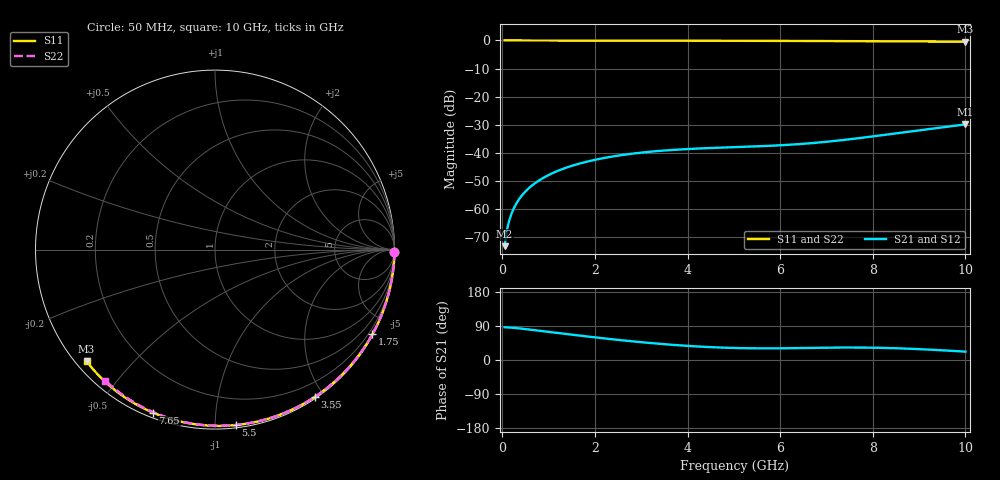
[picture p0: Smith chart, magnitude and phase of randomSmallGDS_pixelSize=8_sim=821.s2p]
! freq	dB(S11)	phase(S11)	dB(S12)	phase(S12)
!  dB(S21)	phase(S21)	dB(S22)	phase(S22)
!S-par simulation data
#  GHz  S  DB  R 50
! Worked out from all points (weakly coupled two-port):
!   200 points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, 50 MHz to 10 GHz, reference 50 ohm
!   highest |S21| = -29.95 dB at 10 GHz (marker M1); lowest = -73.4 dB at 50 MHz (marker M2)
!   lowest |S11| = -0.5 dB at 10 GHz (marker M3), VSWR 37.72, Z = 1.51 - j18.7 ohm
!   |S11| at or under -10 dB: nowhere
!   |S22| runs from -0.4 to 0.0 dB; largest |S21 - S12| = 0
!   S11 on the Smith chart (normalised r, x): 50 MHz: open; 1.75 GHz: 0.03, -3.97; 3.55 GHz: 0.02, -1.89; 5.5 GHz: 0.02, -1.12; 7.65 GHz: 0.02, -0.69; 10 GHz: 0.03, -0.37
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0.05  -0.00 -0.8  -73.36 86.5  -73.36 86.5  -0.00 -0.8
0.1  -0.00 -1.6  -67.60 86.1  -67.60 86.1  -0.00 -1.5
0.15  -0.00 -2.5  -64.17 85.9  -64.17 85.9  -0.00 -2.3
0.2  -0.00 -3.3  -61.72 85.5  -61.72 85.5  -0.00 -3.0
0.25  -0.00 -4.1  -59.81 84.9  -59.81 84.9  -0.00 -3.8
0.35  -0.00 -5.7  -56.91 83.7  -56.91 83.7  -0.00 -5.3
0.5  -0.01 -8.2  -53.85 81.6  -53.85 81.6  -0.01 -7.6
0.7  -0.01 -11.4  -50.98 78.7  -50.98 78.7  -0.01 -10.6
1  -0.02 -16.3  -47.99 74.2  -47.99 74.2  -0.02 -15.1
1.35  -0.03 -21.9  -45.55 69.0  -45.55 69.0  -0.03 -20.3
1.75  -0.04 -28.2  -43.54 63.2  -43.54 63.2  -0.03 -26.2
2.5  -0.05 -40.0  -41.06 53.1  -41.06 53.1  -0.05 -37.1
3.4  -0.07 -53.6  -39.38 42.7  -39.38 42.7  -0.07 -49.8
3.55  -0.08 -55.8  -39.18 41.2  -39.18 41.2  -0.07 -51.9
4.3  -0.09 -66.7  -38.48 35.1  -38.48 35.1  -0.09 -62.1
5.05  -0.12 -77.2  -38.02 31.6  -38.02 31.6  -0.11 -72.0
5.5  -0.13 -83.3  -37.76 30.8  -37.76 30.8  -0.13 -77.7
6.7  -0.19 -99.0  -36.59 32.0  -36.59 32.0  -0.18 -92.5
7.65  -0.25 -110.9  -34.94 32.9  -34.94 32.9  -0.23 -103.7
8.35  -0.30 -119.4  -33.46 31.6  -33.46 31.6  -0.28 -111.7
9.2  -0.38 -129.5  -31.62 27.5  -31.62 27.5  -0.35 -121.1
10  -0.46 -139.0  -29.95 22.1  -29.95 22.1  -0.43 -129.9
